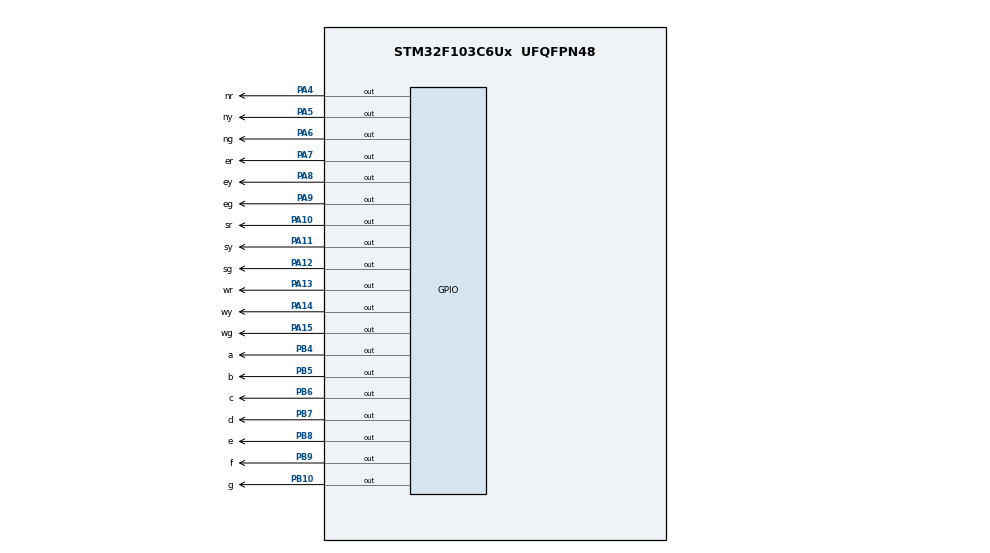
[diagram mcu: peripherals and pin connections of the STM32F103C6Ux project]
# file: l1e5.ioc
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Mcu.Family=STM32F1
Mcu.Name=STM32F103C6Ux
Mcu.Package=UFQFPN48
NVIC.PriorityGroup=NVIC_PRIORITYGROUP_4
PA10.GPIO_Label=sr
PA10.Signal=GPIO_Output
PA11.GPIO_Label=sy
PA11.Signal=GPIO_Output
PA12.GPIO_Label=sg
PA12.Signal=GPIO_Output
PA13.GPIO_Label=wr
PA13.Signal=GPIO_Output
PA14.GPIO_Label=wy
PA14.Signal=GPIO_Output
PA15.GPIO_Label=wg
PA15.Signal=GPIO_Output
PA4.GPIO_Label=nr
PA4.Signal=GPIO_Output
PA5.GPIO_Label=ny
PA5.Signal=GPIO_Output
PA6.GPIO_Label=ng
PA6.Signal=GPIO_Output
PA7.GPIO_Label=er
PA7.Signal=GPIO_Output
PA8.GPIO_Label=ey
PA8.Signal=GPIO_Output
PA9.GPIO_Label=eg
PA9.Signal=GPIO_Output
PB10.GPIO_Label=g
PB10.Signal=GPIO_Output
PB4.GPIO_Label=a
PB4.Signal=GPIO_Output
PB5.GPIO_Label=b
PB5.Signal=GPIO_Output
PB6.GPIO_Label=c
PB6.Signal=GPIO_Output
PB7.GPIO_Label=d
PB7.Signal=GPIO_Output
PB8.GPIO_Label=e
PB8.Signal=GPIO_Output
PB9.GPIO_Label=f
PB9.Signal=GPIO_Output
ProjectManager.HeapSize=0x200
ProjectManager.StackSize=0x400
ProjectManager.TargetToolchain=STM32CubeIDE
RCC.APB1Freq_Value=8000000
RCC.APB2Freq_Value=8000000
VP_SYS_VS_ND.Mode=No_Debug
board=custom

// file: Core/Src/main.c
/* USER CODE BEGIN Header */
/**
  ******************************************************************************
  * @file           : main.c
  * @brief          : Main program body
  ******************************************************************************
  * @attention
  *
  * <h2><center>&copy; Copyright (c) 2025 STMicroelectronics.
  * All rights reserved.</center></h2>
  *
  * This software component is licensed by ST under BSD 3-Clause license,
  * the "License"; You may not use this file except in compliance with the
  * License. You may obtain a copy of the License at:
  *                        opensource.org/licenses/BSD-3-Clause
  *
  ******************************************************************************
  */
/* USER CODE END Header */
#include "main.h"

void SystemClock_Config(void);
static void MX_GPIO_Init(void);
/* USER CODE BEGIN PFP */
void display7SEG(int num)
{
  // 0 = ON (RESET), 1 = OFF (SET)
  const uint8_t segTable[10][7] = {
    // a, b, c, d, e, f, g
    {0,0,0,0,0,0,1}, // 0
    {1,0,0,1,1,1,1}, // 1
    {0,0,1,0,0,1,0}, // 2
    {0,0,0,0,1,1,0}, // 3
    {1,0,0,1,1,0,0}, // 4
    {0,1,0,0,1,0,0}, // 5
    {0,1,0,0,0,0,0}, // 6
    {0,0,0,1,1,1,1}, // 7
    {0,0,0,0,0,0,0}, // 8
    {0,0,0,0,1,0,0}  // 9
  };

  for (int i = 0; i < 7; i++) {
    GPIO_PinState state = segTable[num][i] ? GPIO_PIN_SET : GPIO_PIN_RESET;
    HAL_GPIO_WritePin(GPIOB, (1 << (i + 4)), state); // PB4..PB10
  }
}
/* USER CODE END PFP */

int main(void)
{
  HAL_Init();
  SystemClock_Config();
  MX_GPIO_Init();

  int state = 0;
  int counter = 0;

  while (1)
  {
    switch(state)
    {
      // ===== 1. EAST-WEST GREEN (3s), NS RED =====
      case 0:
        counter = 3;
        // North-South = RED
        HAL_GPIO_WritePin(GPIOA, GPIO_PIN_4, GPIO_PIN_RESET); // NR
        HAL_GPIO_WritePin(GPIOA, GPIO_PIN_5, GPIO_PIN_SET);   // NY
        HAL_GPIO_WritePin(GPIOA, GPIO_PIN_6, GPIO_PIN_SET);   // NG
        HAL_GPIO_WritePin(GPIOA, GPIO_PIN_10, GPIO_PIN_RESET);// SR
        HAL_GPIO_WritePin(GPIOA, GPIO_PIN_11, GPIO_PIN_SET);  // SY
        HAL_GPIO_WritePin(GPIOA, GPIO_PIN_12, GPIO_PIN_SET);  // SG
        // East-West = GREEN
        HAL_GPIO_WritePin(GPIOA, GPIO_PIN_7, GPIO_PIN_SET);   // ER
        HAL_GPIO_WritePin(GPIOA, GPIO_PIN_8, GPIO_PIN_SET);   // EY
        HAL_GPIO_WritePin(GPIOA, GPIO_PIN_9, GPIO_PIN_RESET); // EG
        HAL_GPIO_WritePin(GPIOA, GPIO_PIN_13, GPIO_PIN_SET);  // WR
        HAL_GPIO_WritePin(GPIOA, GPIO_PIN_14, GPIO_PIN_SET);  // WY
        HAL_GPIO_WritePin(GPIOA, GPIO_PIN_15, GPIO_PIN_RESET);// WG
        break;

      // ===== 2. EAST-WEST YELLOW (2s) =====
      case 1:
        counter = 2;
        HAL_GPIO_WritePin(GPIOA, GPIO_PIN_7, GPIO_PIN_SET);   // ER
        HAL_GPIO_WritePin(GPIOA, GPIO_PIN_8, GPIO_PIN_RESET); // EY
        HAL_GPIO_WritePin(GPIOA, GPIO_PIN_9, GPIO_PIN_SET);   // EG
        HAL_GPIO_WritePin(GPIOA, GPIO_PIN_13, GPIO_PIN_SET);  // WR
        HAL_GPIO_WritePin(GPIOA, GPIO_PIN_14, GPIO_PIN_RESET);// WY
        HAL_GPIO_WritePin(GPIOA, GPIO_PIN_15, GPIO_PIN_SET);  // WG
        break;

      // ===== 3. NORTH-SOUTH GREEN (5s), EW RED =====
      case 2:
        counter = 5;
        // East-West = RED
        HAL_GPIO_WritePin(GPIOA, GPIO_PIN_7, GPIO_PIN_RESET); // ER
        HAL_GPIO_WritePin(GPIOA, GPIO_PIN_8, GPIO_PIN_SET);   // EY
        HAL_GPIO_WritePin(GPIOA, GPIO_PIN_9, GPIO_PIN_SET);   // EG
        HAL_GPIO_WritePin(GPIOA, GPIO_PIN_13, GPIO_PIN_RESET);// WR
        HAL_GPIO_WritePin(GPIOA, GPIO_PIN_14, GPIO_PIN_SET);  // WY
        HAL_GPIO_WritePin(GPIOA, GPIO_PIN_15, GPIO_PIN_SET);  // WG
        // North-South = GREEN
        HAL_GPIO_WritePin(GPIOA, GPIO_PIN_4, GPIO_PIN_SET);   // NR
        HAL_GPIO_WritePin(GPIOA, GPIO_PIN_5, GPIO_PIN_SET);   // NY
        HAL_GPIO_WritePin(GPIOA, GPIO_PIN_6, GPIO_PIN_RESET); // NG
        HAL_GPIO_WritePin(GPIOA, GPIO_PIN_10, GPIO_PIN_SET);  // SR
        HAL_GPIO_WritePin(GPIOA, GPIO_PIN_11, GPIO_PIN_SET);  // SY
        HAL_GPIO_WritePin(GPIOA, GPIO_PIN_12, GPIO_PIN_RESET);// SG
        break;

      // ===== 4. NORTH-SOUTH YELLOW (2s) =====
      case 3:
        counter = 2;
        HAL_GPIO_WritePin(GPIOA, GPIO_PIN_4, GPIO_PIN_SET);   // NR
        HAL_GPIO_WritePin(GPIOA, GPIO_PIN_5, GPIO_PIN_RESET); // NY
        HAL_GPIO_WritePin(GPIOA, GPIO_PIN_6, GPIO_PIN_SET);   // NG
        HAL_GPIO_WritePin(GPIOA, GPIO_PIN_10, GPIO_PIN_SET);  // SR
        HAL_GPIO_WritePin(GPIOA, GPIO_PIN_11, GPIO_PIN_RESET);// SY
        HAL_GPIO_WritePin(GPIOA, GPIO_PIN_12, GPIO_PIN_SET);  // SG
        break;
    }

    // countdown loop for each state
    while(counter > 0)
    {
      display7SEG(counter);
      HAL_Delay(1000);
      counter--;
    }

    // move to next state
    state = (state + 1) % 4;
  }
}

void SystemClock_Config(void)
{
  RCC_OscInitTypeDef RCC_OscInitStruct = {0};
  RCC_ClkInitTypeDef RCC_ClkInitStruct = {0};

  /** Initializes the RCC Oscillators according to the specified parameters
  * in the RCC_OscInitTypeDef structure.
  */
  RCC_OscInitStruct.OscillatorType = RCC_OSCILLATORTYPE_HSI;
  RCC_OscInitStruct.HSIState = RCC_HSI_ON;
  RCC_OscInitStruct.HSICalibrationValue = RCC_HSICALIBRATION_DEFAULT;
  RCC_OscInitStruct.PLL.PLLState = RCC_PLL_NONE;
  if (HAL_RCC_OscConfig(&RCC_OscInitStruct) != HAL_OK)
  {
    Error_Handler();
  }
  /** Initializes the CPU, AHB and APB buses clocks
  */
  RCC_ClkInitStruct.ClockType = RCC_CLOCKTYPE_HCLK|RCC_CLOCKTYPE_SYSCLK
                              |RCC_CLOCKTYPE_PCLK1|RCC_CLOCKTYPE_PCLK2;
  RCC_ClkInitStruct.SYSCLKSource = RCC_SYSCLKSOURCE_HSI;
  RCC_ClkInitStruct.AHBCLKDivider = RCC_SYSCLK_DIV1;
  RCC_ClkInitStruct.APB1CLKDivider = RCC_HCLK_DIV1;
  RCC_ClkInitStruct.APB2CLKDivider = RCC_HCLK_DIV1;

  if (HAL_RCC_ClockConfig(&RCC_ClkInitStruct, FLASH_LATENCY_0) != HAL_OK)
  {
    Error_Handler();
  }
}

static void MX_GPIO_Init(void)
{
  GPIO_InitTypeDef GPIO_InitStruct = {0};

  /* GPIO Ports Clock Enable */
  __HAL_RCC_GPIOA_CLK_ENABLE();
  __HAL_RCC_GPIOB_CLK_ENABLE();

  /*Configure GPIO pin Output Level */
  HAL_GPIO_WritePin(GPIOA, nr_Pin|ny_Pin|ng_Pin|er_Pin
                          |ey_Pin|eg_Pin|sr_Pin|sy_Pin
                          |sg_Pin|wr_Pin|wy_Pin|wg_Pin, GPIO_PIN_RESET);

  /*Configure GPIO pin Output Level */
  HAL_GPIO_WritePin(GPIOB, g_Pin|a_Pin|b_Pin|c_Pin
                          |d_Pin|e_Pin|f_Pin, GPIO_PIN_RESET);

  /*Configure GPIO pins : nr_Pin ny_Pin ng_Pin er_Pin
                           ey_Pin eg_Pin sr_Pin sy_Pin
                           sg_Pin wr_Pin wy_Pin wg_Pin */
  GPIO_InitStruct.Pin = nr_Pin|ny_Pin|ng_Pin|er_Pin
                          |ey_Pin|eg_Pin|sr_Pin|sy_Pin
                          |sg_Pin|wr_Pin|wy_Pin|wg_Pin;
  GPIO_InitStruct.Mode = GPIO_MODE_OUTPUT_PP;
  GPIO_InitStruct.Pull = GPIO_NOPULL;
  GPIO_InitStruct.Speed = GPIO_SPEED_FREQ_LOW;
  HAL_GPIO_Init(GPIOA, &GPIO_InitStruct);

  /*Configure GPIO pins : g_Pin a_Pin b_Pin c_Pin
                           d_Pin e_Pin f_Pin */
  GPIO_InitStruct.Pin = g_Pin|a_Pin|b_Pin|c_Pin
                          |d_Pin|e_Pin|f_Pin;
  GPIO_InitStruct.Mode = GPIO_MODE_OUTPUT_PP;
  GPIO_InitStruct.Pull = GPIO_NOPULL;
  GPIO_InitStruct.Speed = GPIO_SPEED_FREQ_LOW;
  HAL_GPIO_Init(GPIOB, &GPIO_InitStruct);

}

void Error_Handler(void)
{
  __disable_irq();
  while (1)
  {
  }
}

/************************ (C) COPYRIGHT STMicroelectronics *****END OF FILE****/
